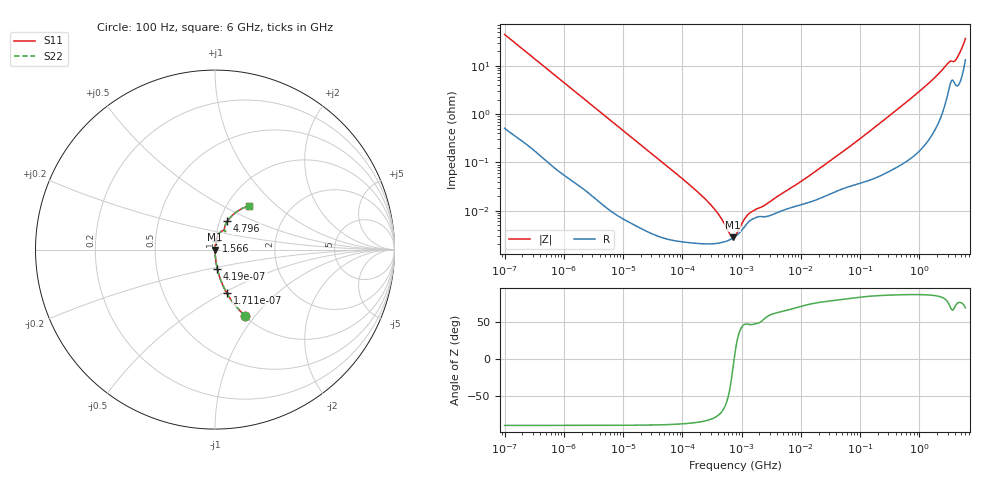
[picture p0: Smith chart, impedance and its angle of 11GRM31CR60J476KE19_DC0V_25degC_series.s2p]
!Murata Part Number: GRM31CR60J476KE19
!These Parameters are Measured in Series Mode Connection
!  o--ll--o
!Port1  Port2
!  o------o
!Operation Temp=25[degC], DC Bias Voltage=0[V]
!Freq. Start=100[Hz] Stop=6[GHz], 401[Steps]
!Data Generated on Jan 10, 2017
# Hz S RI R 50
!Freq.(Hz) S11(Real) S11(Imag) S21(Real) S21(Imag) S12(Real) S12(Imag) S22(Real) S22(Imag)
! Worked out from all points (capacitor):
!   401 points, 100 Hz to 6 GHz, reference 50 ohm
!   read as one part in series: C = 35.7 uF near 109.4 Hz
!   lowest |Z| = 2.79 mohm at 708.2 kHz (marker M1)
!   series resonance near 749.3 kHz, so ESL is about 1.3 nH
!   S11 on the Smith chart (normalised r, x): 100 Hz: 1.01, -0.89; 171.1 Hz: 1.01, -0.52; 419 Hz: 1.00, -0.21; 1.566 GHz: 1.01, +0.10; 4.796 GHz: 1.09, +0.36; 6 GHz: 1.27, +0.69
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100  0.1681 -0.3683  0.8319 0.3683  0.8319 0.3683  0.1681 -0.3683
171.1372  0.0663 -0.2429  0.9337 0.2429  0.9337 0.2429  0.0663 -0.2429
419.0367  0.0127 -0.1059  0.9873 0.1059  0.9873 0.1059  0.0127 -0.1059
820.2246  0.00368 -0.0549  0.9963 0.0549  0.9963 0.0549  0.00368 -0.0549
2008.354  0.000811 -0.0226  0.9992 0.0226  0.9992 0.0226  0.000811 -0.0226
40334.87  3.04e-05 -0.00115  1 0.00115  1 0.00115  3.04e-05 -0.00115
169017.9  2.12e-05 -0.000264  1 0.000264  1 0.000264  2.12e-05 -0.000264
361829.7  2.09e-05 -0.0001  1 0.0001  1 0.0001  2.09e-05 -0.0001
413847.5  2.13e-05 -7.94e-05  1 7.94e-05  1 7.94e-05  2.13e-05 -7.94e-05
708247.2  2.7e-05 -7.09e-06  1 7.09e-06  1 7.09e-06  2.7e-05 -7.09e-06
774596.7  2.91e-05 4.2e-06  1 -4.2e-06  1 -4.2e-06  2.91e-05 4.2e-06
1516199  6.67e-05 7.01e-05  0.9999 -7.01e-05  0.9999 -7.01e-05  6.67e-05 7.01e-05
2268635  7.51e-05 9.66e-05  0.9999 -9.66e-05  0.9999 -9.66e-05  7.51e-05 9.66e-05
1.555665e7  0.000156 0.000562  0.9998 -0.000562  0.9998 -0.000562  0.000156 0.000562
7.455971e7  0.000336 0.00233  0.9997 -0.00233  0.9997 -0.00233  0.000336 0.00233
3.124326e8  0.000736 0.00922  0.9993 -0.00922  0.9993 -0.00922  0.000736 0.00922
1.565993e9  0.00561 0.0472  0.9944 -0.0472  0.9944 -0.0472  0.00561 0.0472
3.065283e9  0.0383 0.1036  0.9617 -0.1036  0.9617 -0.1036  0.0383 0.1036
4.009986e9  0.0528 0.1084  0.9472 -0.1084  0.9472 -0.1084  0.0528 0.1084
4.796499e9  0.0691 0.1591  0.9309 -0.1591  0.9309 -0.1591  0.0691 0.1591
5.486059e9  0.1203 0.2106  0.8797 -0.2106  0.8797 -0.2106  0.1203 0.2106
6e9  0.1913 0.245  0.8087 -0.245  0.8087 -0.245  0.1913 0.245
